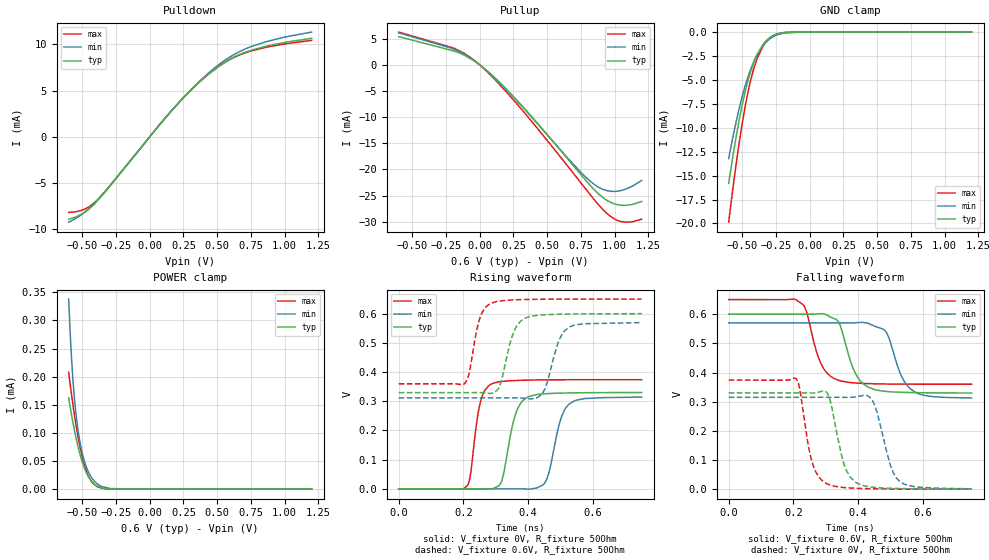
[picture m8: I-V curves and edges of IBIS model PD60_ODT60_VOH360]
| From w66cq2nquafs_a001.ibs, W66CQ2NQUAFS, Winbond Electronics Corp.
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[Model]   PD60_ODT60_VOH360
Model_type   I/O
Polarity   Non-Inverting
Enable   Active-Low
Vinl = 0.11
Vinh = 0.25
Vmeas = 0.18
Vref = 0
Cref = 0pF
Rref = 60
|   typ   min   max
C_comp   0.85pF   0.80pF   0.90pF
[Voltage Range]   0.6   0.57   0.65
[Temperature Range]   25   125   -40
[Pullup Reference]   0.6   0.57   0.65
[Pulldown Reference]   0   0   0
[Power Clamp Reference]   0.6   0.57   0.65
[GND Clamp Reference]   0   0   0
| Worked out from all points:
|   slope of the pulldown table from 0 to 0.09 V, typ, clamps not added: 56.1 ohm
|   slope of the pullup table from 0 to 0.09 V, typ, clamps not added: 46.4 ohm
|   GND clamp passes 1 mA (typ) near -0.33 V on its own axis
|   falling waveform, V_fixture 0.6V, R_fixture 50Ohm: 20-80 % time 49.4ps typ, 51ps min, 46.6ps max; typ from 0.6 V to 0.33 V
|   rising waveform, V_fixture 0V, R_fixture 50Ohm: 20-80 % time 37.1ps typ, 38.9ps min, 28.2ps max; typ from 0 V to 0.33 V
|   rising waveform, V_fixture 0.6V, R_fixture 50Ohm: 20-80 % time 38.5ps typ, 40.9ps min, 31.6ps max; typ from 0.33 V to 0.6 V
|   falling waveform, V_fixture 0V, R_fixture 50Ohm: 20-80 % time 41.6ps typ, 44.8ps min, 37.4ps max; typ from 0.33 V to 0 V
[Pulldown]
|   Voltage   I(typ)   I(min)   I(max)
-600mV    -8.908mA   -9.223mA   -8.165mA
-498.6mV  -8.298mA   -8.347mA   -7.921mA
-455.7mV  -7.864mA   -7.843mA   -7.621mA
-408.9mV  -7.245mA   -7.19mA    -7.107mA
-315.3mV  -5.699mA   -5.657mA   -5.64mA
167.2mV   2.914mA    2.908mA    2.908mA
356.2mV   5.774mA    5.82mA     5.754mA
508.7mV   7.612mA    7.765mA    7.581mA
623.3mV   8.616mA    8.885mA    8.575mA
760.6mV   9.398mA    9.804mA    9.32mA
1.015V    10.24mA    10.82mA    10.08mA
1.2V      10.65mA    11.32mA    10.43mA
[GND Clamp]
|   Voltage   I(typ)   I(min)   I(max)
-600mV    -15.82mA   -13.22mA   -19.87mA
-571.4mV  -13.2mA    -11.15mA   -16.63mA
-525.2mV  -9.427mA   -8.168mA   -11.87mA
-498.6mV  -7.533mA   -6.669mA   -9.452mA
-455.7mV  -5.004mA   -4.623mA   -6.18mA
-410.8mV  -3.058mA   -2.985mA   -3.664mA
-388.2mV  -2.335mA   -2.333mA   -2.73mA
-344.6mV  -1.289mA   -1.399mA   -1.448mA
-291mV    -530.1uA   -651.9uA   -572.1uA
-197mV    -74.53uA   -130uA     -57.5uA
-59.4mV   -1.403uA   -6.58uA    -408.7nA
1.2V      0A         0A         0A
[Pullup]
|   Voltage   I(typ)   I(min)   I(max)
-600mV    5.379mA    6.114mA    6.249mA
-197mV    2.676mA    3.058mA    3.229mA
-109.2mV  1.772mA    1.938mA    2.098mA
-2.65mV   47.87uA    51.35uA    59.71uA
123mV     -2.729mA   -2.813mA   -3.089mA
294.4mV   -7.285mA   -7.402mA   -8.028mA
760.6mV   -21.3mA    -20.82mA   -22.9mA
872.3mV   -24.46mA   -23.25mA   -26.48mA
953.4mV   -26.06mA   -24.1mA    -28.63mA
1.024V    -26.74mA   -24.13mA   -29.76mA
1.096V    -26.82mA   -23.6mA    -30.07mA
1.2V      -26.11mA   -22.11mA   -29.49mA
[POWER Clamp]
|   Voltage   I(typ)   I(min)   I(max)
-600mV    162.4uA    337.9uA    207.7uA
-589.7mV  147.3uA    281.5uA    188.1uA
-578.9mV  132.2uA    232.9uA    168.2uA
-567.5mV  117.2uA    191.6uA    148.5uA
-545.3mV  90.85uA    132.4uA    113.1uA
-520.8mV  65.99uA    89.36uA    80.61uA
-492.8mV  43.49uA    57.45uA    51.05uA
-455.7mV  22.7uA     31.48uA    24.18uA
-433.6mV  14.6uA     21.62uA    14.6uA
-388.7mV  5.422uA    9.398uA    4.504uA
-288.8mV  275.7nA    1.063uA    106.7nA
1.2V      0A         0A         0A
[Ramp]
R_load = 50
|   typ   min   max
dV/dt_r 1.9798E-01/3.6909E-11   1.8852E-01/3.8834E-11   2.2434E-01/2.8200E-11
dV/dt_f 1.6214E-01/4.9384E-11   1.5446E-01/5.0431E-11   1.7410E-01/4.6618E-11
[Falling Waveform]
V_fixture = 0.6V
V_fixture_min = 0.57V
V_fixture_max = 0.65V
R_fixture = 50Ohm
C_fixture = 0F
|   Time   V(typ)   V(min)   V(max)
0s        600mV      570mV      650mV
229ps     600mV      570mV      633.3mV
285ps     601.8mV    570mV      430.2mV
331ps     582.6mV    570mV      377mV
392ps     395.5mV    570.8mV    364mV
431ps     349.6mV    568.7mV    362mV
488ps     335mV      536.1mV    360.6mV
533ps     332.2mV    388.6mV    360.2mV
573ps     331.1mV    334.3mV    360mV
750ps     329.8mV    312.6mV    359.8mV
[Rising Waveform]
V_fixture = 0V
V_fixture_min = 0V
V_fixture_max = 0V
R_fixture = 50Ohm
C_fixture = 0F
|   Time   V(typ)   V(min)   V(max)
0s        5.397uV    43.77uV    1.065uV
211ps     3.899uV    43.77uV    9.963mV
251ps     44.58uV    43.87uV    291.1mV
286ps     -507.6uV   42.86uV    359mV
318ps     26.79mV    42.42uV    367.7mV
354ps     229.7mV    75.36uV    370.7mV
391ps     309.4mV    -386.6uV   372.2mV
452ps     325.7mV    21.35mV    373.3mV
526ps     328.6mV    290.4mV    373.7mV
750ps     330mV      314.2mV    373.9mV
[Rising Waveform]
V_fixture = 0.6V
V_fixture_min = 0.57V
V_fixture_max = 0.65V
R_fixture = 50Ohm
C_fixture = 0F
|   Time   V(typ)   V(min)   V(max)
0s        329.6mV    311.3mV    359.8mV
202ps     329.6mV    311.3mV    359.2mV
251ps     329.8mV    311.3mV    586mV
294ps     328.6mV    311.3mV    639.2mV
354ps     533.5mV    311.4mV    647.2mV
391ps     584.8mV    309.9mV    648.6mV
445ps     595.8mV    329.4mV    649.4mV
493ps     598mV      502.3mV    649.8mV
525ps     598.7mV    553.2mV    649.9mV
750ps     599.9mV    569.4mV    650mV
[Falling Waveform]
|Gnd
V_fixture = 0V
V_fixture_min = 0V
V_fixture_max = 0V
R_fixture = 50Ohm
C_fixture = 0F
|   Time   V(typ)   V(min)   V(max)
0s        330mV      315mV      373.9mV
208ps     330mV      315mV      379.5mV
256ps     329.7mV    315mV      99.07mV
303ps     331.7mV    315mV      18.73mV
354ps     93.06mV    314.9mV    5.844mV
392ps     23.67mV    316.3mV    3.008mV
446ps     6.576mV    299.9mV    1.292mV
498ps     2.989mV    86.85mV    558.3uV
526ps     2.086mV    28.61mV    338.1uV
750ps     114.2uV    1.214mV    -15.44uV
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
